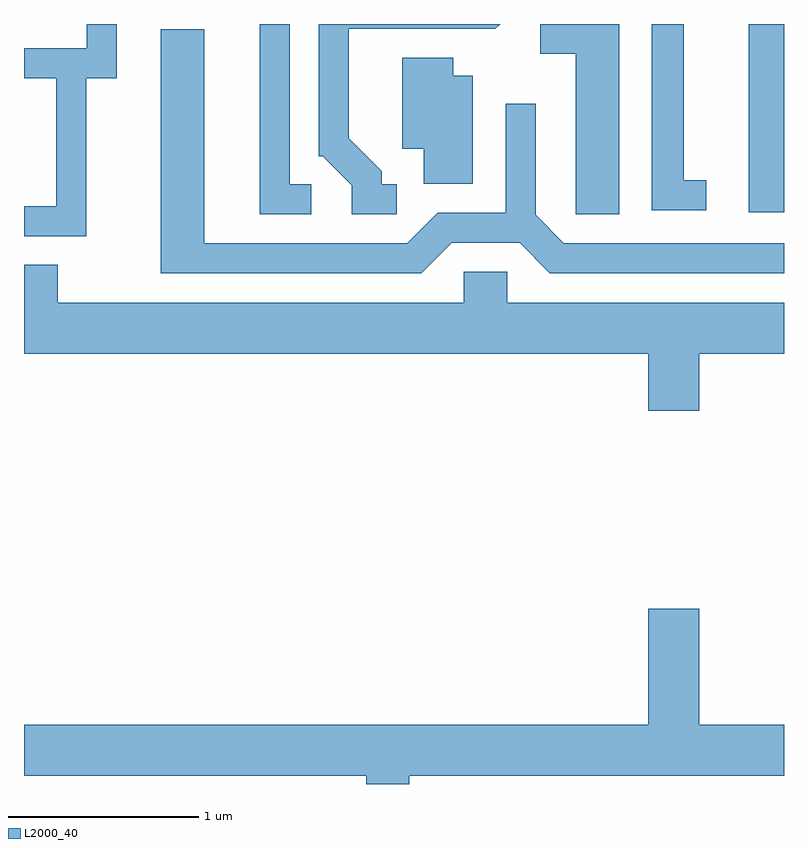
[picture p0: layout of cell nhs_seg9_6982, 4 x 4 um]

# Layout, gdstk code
import gdstk
lib = gdstk.Library(unit=1e-6, precision=1e-09)
def R(c, l, rs):  # rectangles x0, y0, x1, y1
    for r in rs: c.add(gdstk.rectangle(r[:2], r[2:], *l))
def P(c, l, *ps):  # polygons
    for p in ps: c.add(gdstk.Polygon(p, *l))
L2000_40 = (2000, 40)

nhs_seg9_6982 = lib.new_cell('nhs_seg9_6982')
R(nhs_seg9_6982, L2000_40, [(395.426,2001.441,395.611,2002.432)])
P(nhs_seg9_6982, L2000_40, [(391.939,2002.146),(392.099,2002.146),(392.099,2002.432),(391.941,2002.432),(391.941,2002.304),(391.611,2002.304),(391.611,2002.146),(391.781,2002.146),(391.781,2001.474),(391.611,2001.474),(391.611,2001.316),(391.939,2001.316)],
  [(393.123,2001.589),(393.009,2001.589),(393.009,2002.432),(392.851,2002.432),(392.851,2001.431),(393.123,2001.431)],
  [(394.744,2002.432),(394.328,2002.432),(394.328,2002.276),(394.516,2002.276),(394.516,2001.431),(394.744,2001.431)],
  [(393.573,2001.589),(393.494,2001.589),(393.494,2001.657),(393.319,2001.832),(393.319,2002.406),(394.092,2002.406),(394.118,2002.432),(393.161,2002.432),(393.161,2001.736),(393.184,2001.736),(393.336,2001.584),(393.336,2001.431),(393.573,2001.431)],
  [(395.203,2001.609),(395.084,2001.609),(395.084,2002.432),(394.916,2002.432),(394.916,2001.451),(395.203,2001.451)],
  [(393.862,2001.281),(394.219,2001.281),(394.379,2001.121),(395.611,2001.121),(395.611,2001.279),(394.452,2001.279),(394.304,2001.427),(394.304,2002.013),(394.146,2002.013),(394.146,2001.439),(393.789,2001.439),(393.629,2001.279),(392.559,2001.279),(392.559,2002.404),(392.331,2002.404),(392.331,2001.121),(393.702,2001.121)],
  [(393.974,2002.159),(393.869,2002.159),(393.869,2002.254),(393.601,2002.254),(393.601,2001.776),(393.716,2001.776),(393.716,2001.591),(393.974,2001.591)],
  [(395.164,2000.696),(395.611,2000.696),(395.611,2000.964),(394.154,2000.964),(394.154,2001.129),(393.926,2001.129),(393.926,2000.964),(391.789,2000.964),(391.789,2001.164),(391.611,2001.164),(391.611,2000.696),(394.896,2000.696),(394.896,2000.396),(395.164,2000.396)],
  [(393.639,1998.476),(395.611,1998.476),(395.611,1998.744),(395.164,1998.744),(395.164,1999.354),(394.896,1999.354),(394.896,1998.744),(391.611,1998.744),(391.611,1998.476),(393.411,1998.476),(393.411,1998.432),(393.639,1998.432)])

lib.write_gds('nhs_seg9_6982.gds')
